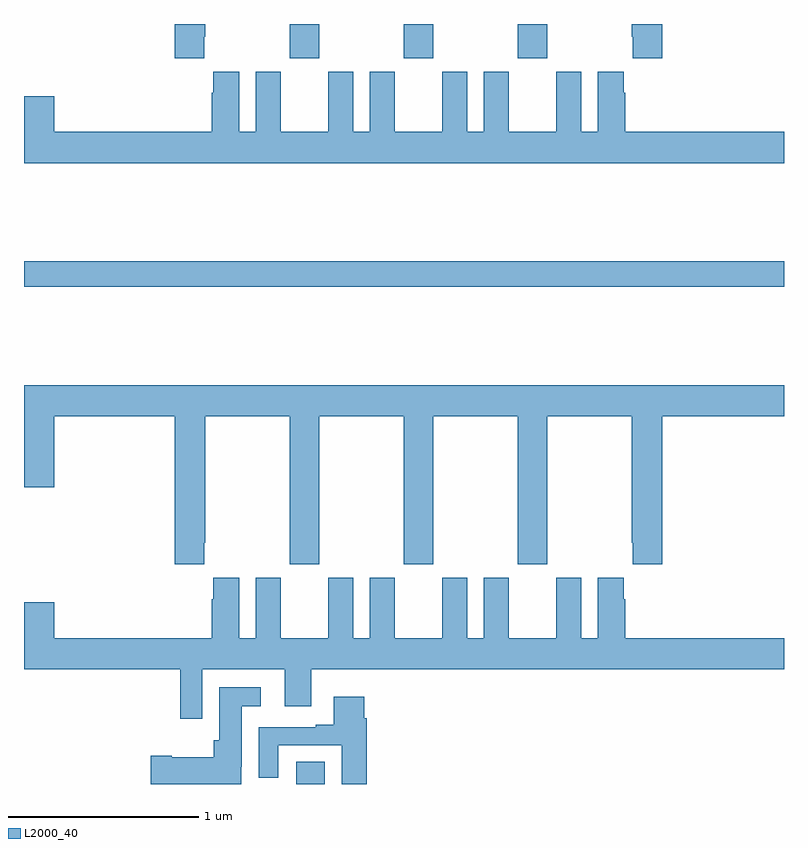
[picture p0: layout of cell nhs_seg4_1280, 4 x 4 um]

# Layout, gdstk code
import gdstk
lib = gdstk.Library(unit=1e-6, precision=1e-09)
def R(c, l, rs):  # rectangles x0, y0, x1, y1
    for r in rs: c.add(gdstk.rectangle(r[:2], r[2:], *l))
def A(c, l, x, y, w, h, nx, ny, dx, dy):  # array of equal rectangles
    R(c, l, [(x+i*dx, y+j*dy, x+i*dx+w, y+j*dy+h) for i in range(nx) for j in range(ny)])
def P(c, l, *ps):  # polygons
    for p in ps: c.add(gdstk.Polygon(p, *l))
L2000_40 = (2000, 40)

nhs_seg4_1280 = lib.new_cell('nhs_seg4_1280')
A(nhs_seg4_1280, L2000_40, 178.399, 782.721, 0.155, 0.179, 3, 1, 0.6, 0)
R(nhs_seg4_1280, L2000_40, [(178.433,778.9,178.582,779.018), (177,781.516,181,781.652)])
P(nhs_seg4_1280, L2000_40, [(180.359,782.9),(180.199,782.9),(180.199,782.833),(180.203,782.833),(180.203,782.721),(180.359,782.721)],
  [(177.949,782.833),(177.954,782.833),(177.954,782.9),(177.794,782.9),(177.794,782.721),(177.949,782.721)],
  [(181,782.332),(180.164,782.332),(180.164,782.537),(180.157,782.537),(180.157,782.65),(180.02,782.65),(180.02,782.332),(179.932,782.332),(179.932,782.65),(179.801,782.65),(179.801,782.332),(179.551,782.332),(179.551,782.65),(179.42,782.65),(179.42,782.332),(179.332,782.332),(179.332,782.65),(179.201,782.65),(179.201,782.332),(178.951,782.332),(178.951,782.65),(178.82,782.65),(178.82,782.332),(178.732,782.332),(178.732,782.65),(178.601,782.65),(178.601,782.332),(178.351,782.332),(178.351,782.65),(178.22,782.65),(178.22,782.332),(178.132,782.332),(178.132,782.65),(177.995,782.65),(177.995,782.537),(177.989,782.537),(177.989,782.332),(177.16,782.332),(177.16,782.521),(177,782.521),(177,782.168),(181,782.168)],
  [(177.949,780.169),(177.954,780.169),(177.954,780.836),(178.399,780.836),(178.399,780.057),(178.554,780.057),(178.554,780.836),(178.999,780.836),(178.999,780.057),(179.154,780.057),(179.154,780.836),(179.599,780.836),(179.599,780.057),(179.754,780.057),(179.754,780.836),(180.199,780.836),(180.199,780.169),(180.203,780.169),(180.203,780.057),(180.359,780.057),(180.359,780.836),(181,780.836),(181,781),(177,781),(177,780.462),(177.16,780.462),(177.16,780.836),(177.794,780.836),(177.794,780.057),(177.949,780.057)],
  [(177.939,779.504),(178.373,779.504),(178.373,779.31),(178.513,779.31),(178.513,779.504),(181,779.504),(181,779.668),(180.164,779.668),(180.164,779.873),(180.157,779.873),(180.157,779.986),(180.02,779.986),(180.02,779.668),(179.932,779.668),(179.932,779.986),(179.801,779.986),(179.801,779.668),(179.551,779.668),(179.551,779.986),(179.42,779.986),(179.42,779.668),(179.332,779.668),(179.332,779.986),(179.201,779.986),(179.201,779.668),(178.951,779.668),(178.951,779.986),(178.82,779.986),(178.82,779.668),(178.732,779.668),(178.732,779.986),(178.601,779.986),(178.601,779.668),(178.351,779.668),(178.351,779.986),(178.22,779.986),(178.22,779.668),(178.132,779.668),(178.132,779.986),(177.995,779.986),(177.995,779.873),(177.989,779.873),(177.989,779.668),(177.16,779.668),(177.16,779.857),(177,779.857),(177,779.504),(177.823,779.504),(177.823,779.244),(177.939,779.244)],
  [(178.143,778.99),(178.147,778.99),(178.147,779.309),(178.246,779.309),(178.246,779.41),(178.028,779.41),(178.028,779.13),(177.998,779.13),(177.998,779.041),(177.778,779.041),(177.778,779.049),(177.666,779.049),(177.666,778.9),(178.143,778.9)],
  [(178.805,779.246),(178.792,779.246),(178.792,779.359),(178.631,779.359),(178.631,779.212),(178.535,779.212),(178.535,779.199),(178.235,779.199),(178.235,778.932),(178.339,778.932),(178.339,779.103),(178.673,779.103),(178.673,778.9),(178.805,778.9)])

lib.write_gds('nhs_seg4_1280.gds')
